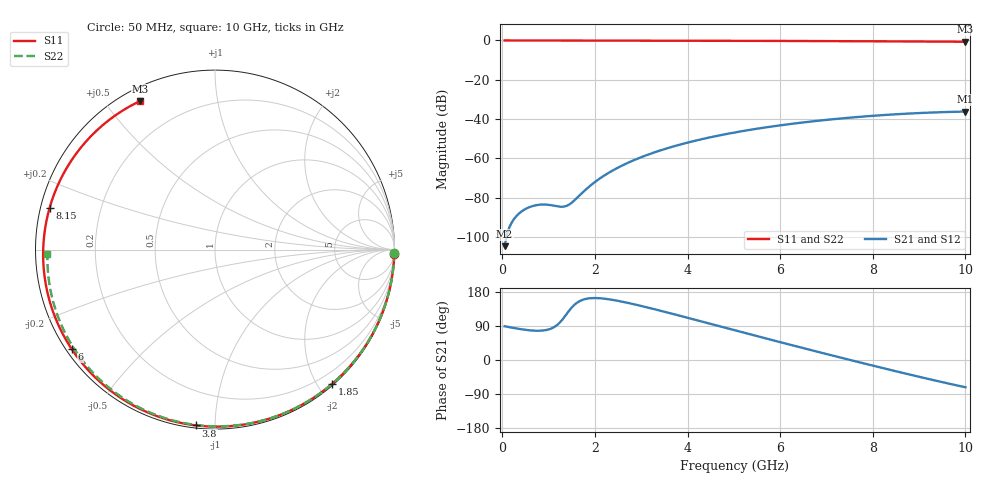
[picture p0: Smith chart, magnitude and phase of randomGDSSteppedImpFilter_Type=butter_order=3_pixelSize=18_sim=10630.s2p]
! freq	dB(S11)	phase(S11)	dB(S12)	phase(S12)
!  dB(S21)	phase(S21)	dB(S22)	phase(S22)
!S-par simulation data
#  GHz  S  DB  R 50
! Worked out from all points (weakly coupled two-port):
!   200 points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, 50 MHz to 10 GHz, reference 50 ohm
!   highest |S21| = -36.16 dB at 10 GHz (marker M1); lowest = -104.7 dB at 50 MHz (marker M2)
!   lowest |S11| = -0.7 dB at 10 GHz (marker M3), VSWR 26.38, Z = 2.61 + j30.7 ohm
!   |S11| at or under -10 dB: nowhere
!   |S22| runs from -0.6 to 0.0 dB; largest |S21 - S12| = 0
!   S11 on the Smith chart (normalised r, x): 50 MHz: 2, -88; 1.85 GHz: 0.02, -2.20; 3.8 GHz: 0.01, -0.90; 6 GHz: 0.02, -0.31; 8.15 GHz: 0.03, +0.12; 10 GHz: 0.05, +0.61
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0.05  -0.00 -1.3  -104.65 89.1  -104.65 89.1  -0.00 -1.0
0.45  -0.02 -12.1  -86.43 80.5  -86.43 80.5  -0.01 -9.0
0.8  -0.03 -21.5  -83.58 77.2  -83.58 77.2  -0.02 -15.9
1.6  -0.05 -42.4  -80.40 149.9  -80.40 149.9  -0.04 -31.6
1.75  -0.06 -46.3  -77.01 159.4  -77.01 159.4  -0.04 -34.5
1.85  -0.06 -48.8  -74.90 162.3  -74.90 162.3  -0.05 -36.4
2.15  -0.07 -56.4  -69.52 162.5  -69.52 162.5  -0.05 -42.1
2.5  -0.08 -65.1  -64.68 156.1  -64.68 156.1  -0.06 -48.8
2.9  -0.10 -74.9  -60.33 145.5  -60.33 145.5  -0.07 -56.2
3.4  -0.11 -86.8  -56.04 130.5  -56.04 130.5  -0.09 -65.4
3.8  -0.13 -96.1  -53.22 117.9  -53.22 117.9  -0.10 -72.6
4.4  -0.15 -109.8  -49.73 98.6  -49.73 98.6  -0.12 -83.2
5.05  -0.19 -124.3  -46.68 77.5  -46.68 77.5  -0.15 -94.4
6  -0.25 -145.1  -43.18 47.1  -43.18 47.1  -0.19 -110.3
6.7  -0.30 -160.6  -41.15 25.1  -41.15 25.1  -0.24 -121.9
7.45  -0.37 -177.6  -39.39 1.9  -39.39 1.9  -0.30 -134.2
8.15  -0.44 165.9  -38.08 -19.3  -38.08 -19.3  -0.36 -145.9
8.35  -0.46 161.0  -37.77 -25.3  -37.77 -25.3  -0.38 -149.3
8.75  -0.51 151.0  -37.22 -37.1  -37.22 -37.1  -0.43 -156.1
9.15  -0.56 140.5  -36.78 -48.6  -36.78 -48.6  -0.48 -163.0
9.55  -0.60 129.6  -36.44 -59.8  -36.44 -59.8  -0.53 -170.2
10  -0.66 116.8  -36.16 -71.9  -36.16 -71.9  -0.59 -178.5
